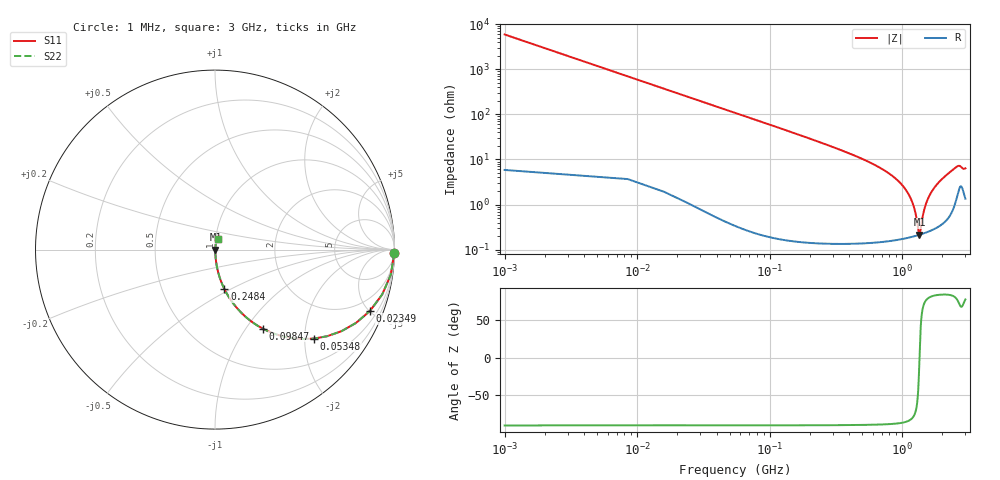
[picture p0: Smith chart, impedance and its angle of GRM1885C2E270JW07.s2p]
!Murata Part Number: GRM1885C2E270JW07
!These Parameters are Measured in Series Mode Connection
!Data Generated on Mar 30, 2021
!  o--ll--o
!Port1  Port2
!  o------o
!Operation Temp=25[degC], DC Bias Voltage=0[V]
!Freq. Start=1000[kHz] Stop=3[GHz] 401[Steps]
# Hz S RI R 50
!Freq.(Hz) S11(Real) S11(Imag) S21(Real) S21(Imag) S12(Real) S12(Imag) S22(Real) S22(Imag)
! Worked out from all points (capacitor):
!   401 points, 1 MHz to 3 GHz, reference 50 ohm
!   read as one part in series: C = 26.8 pF near 15.99 MHz
!   lowest |Z| = 214 mohm at 1.351 GHz (marker M1)
!   series resonance near 1.351 GHz, so ESL is about 520 pH
!   S11 on the Smith chart (normalised r, x): 1 MHz: open; 23.49 MHz: 1.02, -5.06; 53.48 MHz: 1.01, -2.22; 98.47 MHz: 1.00, -1.20; 248.4 MHz: 1.00, -0.46; 3 GHz: 1.03, +0.12
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1000000  0.9997 -0.017  0.000304 0.017  0.000304 0.017  0.9997 -0.017
2.34925e7  0.8638 -0.3408  0.1362 0.3408  0.1362 0.3408  0.8638 -0.3408
3.84875e7  0.7042 -0.4547  0.2958 0.4547  0.2958 0.4547  0.7042 -0.4547
5.34825e7  0.5525 -0.4957  0.4475 0.4957  0.4475 0.4957  0.5525 -0.4957
9.84675e7  0.2664 -0.4405  0.7336 0.4405  0.7336 0.4405  0.2664 -0.4405
1.584475e8  0.1219 -0.3251  0.8781 0.3251  0.8781 0.3251  0.1219 -0.3251
2.484175e8  0.0521 -0.2193  0.9479 0.2193  0.9479 0.2193  0.0521 -0.2193
5.033325e8  0.0116 -0.1007  0.9884 0.1007  0.9884 0.1007  0.0116 -0.1007
1.005665e9  0.00242 -0.0264  0.9976 0.0264  0.9976 0.0264  0.00242 -0.0264
1.118128e9  0.00213 -0.0168  0.9979 0.0168  0.9979 0.0168  0.00213 -0.0168
1.208098e9  0.00205 -0.00989  0.998 0.00989  0.998 0.00989  0.00205 -0.00989
1.26058e9  0.00205 -0.00612  0.9979 0.00612  0.9979 0.00612  0.00205 -0.00612
1.328058e9  0.00211 -0.0015  0.9979 0.0015  0.9979 0.0015  0.00211 -0.0015
1.35055e9  0.00214 -1.21e-05  0.9979 1.21e-05  0.9979 1.21e-05  0.00214 -1.21e-05
1.365545e9  0.00216 0.000967  0.9978 -0.000967  0.9978 -0.000967  0.00216 0.000967
1.44052e9  0.00231 0.00572  0.9977 -0.00572  0.9977 -0.00572  0.00231 0.00572
1.5005e9  0.00246 0.00936  0.9975 -0.00936  0.9975 -0.00936  0.00246 0.00936
1.695435e9  0.00317 0.0205  0.9968 -0.0205  0.9968 -0.0205  0.00317 0.0205
2.002832e9  0.005 0.0366  0.995 -0.0366  0.995 -0.0366  0.005 0.0366
2.505165e9  0.0141 0.0624  0.9859 -0.0624  0.9859 -0.0624  0.0141 0.0624
2.677608e9  0.0251 0.0662  0.9749 -0.0662  0.9749 -0.0662  0.0251 0.0662
3e9  0.017 0.0604  0.983 -0.0604  0.983 -0.0604  0.017 0.0604
